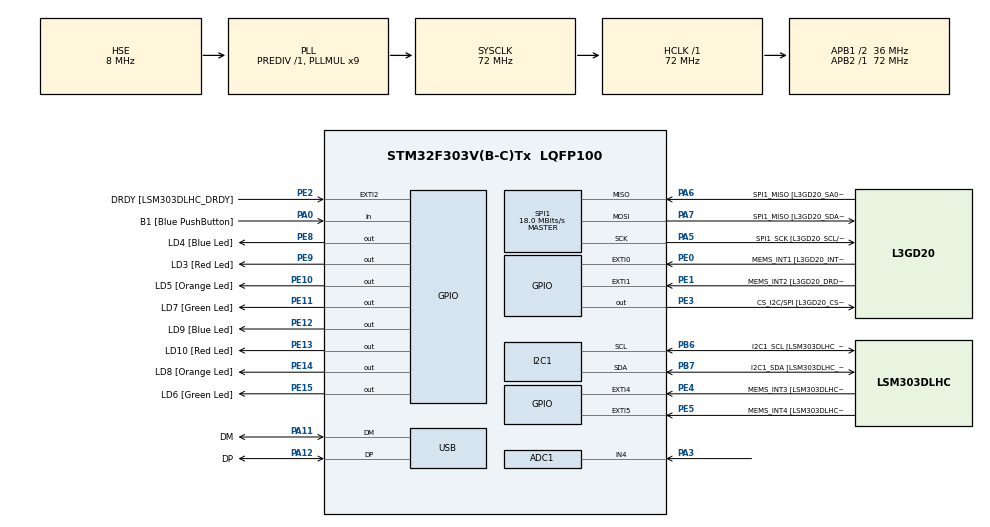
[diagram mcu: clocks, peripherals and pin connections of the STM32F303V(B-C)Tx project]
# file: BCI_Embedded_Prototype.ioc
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ADC1.Channel-0\#ChannelRegularConversion=ADC_CHANNEL_4
ADC1.DMAContinuousRequests=ENABLE
ADC1.ExternalTrigConv=ADC_EXTERNALTRIGCONV_T6_TRGO
ADC1.NbrOfConversionFlag=1
ADC1.Offset-0\#ChannelRegularConversion=0
ADC1.OffsetNumber-0\#ChannelRegularConversion=ADC_OFFSET_NONE
ADC1.Rank-0\#ChannelRegularConversion=1
ADC1.SamplingTime-0\#ChannelRegularConversion=ADC_SAMPLETIME_1CYCLE_5
ADC1.SamplingTimeOPAMP-0\#ChannelRegularConversion=ADC_SAMPLETIME_19CYCLES_5
ADC1.master=1
Dma.ADC1.0.Direction=DMA_PERIPH_TO_MEMORY
Dma.ADC1.0.Instance=DMA1_Channel1
Dma.ADC1.0.MemDataAlignment=DMA_MDATAALIGN_HALFWORD
Dma.ADC1.0.MemInc=DMA_MINC_ENABLE
Dma.ADC1.0.Mode=DMA_CIRCULAR
Dma.ADC1.0.PeriphDataAlignment=DMA_PDATAALIGN_HALFWORD
Dma.ADC1.0.PeriphInc=DMA_PINC_DISABLE
Dma.ADC1.0.Priority=DMA_PRIORITY_HIGH
Dma.Request0=ADC1
I2C1.Timing=0x00201D2B
I2C1.Timing-I2C=0x2000090E
Mcu.Family=STM32F3
Mcu.Name=STM32F303V(B-C)Tx
Mcu.Package=LQFP100
NVIC.DMA1_Channel1_IRQn=true\:0\:0\:false\:false\:true\:false\:true\:true
NVIC.PriorityGroup=NVIC_PRIORITYGROUP_0
NVIC.USB_LP_CAN_RX0_IRQn=true\:0\:0\:false\:false\:true\:false\:true\:true
PA0.GPIO_Label=B1 [Blue PushButton]
PA0.Signal=GPIO_Input
PA11.GPIO_Label=DM
PA11.Mode=Device
PA11.Signal=USB_DM
PA12.GPIO_Label=DP
PA12.Mode=Device
PA12.Signal=USB_DP
PA13.GPIO_Label=SWDIO
PA13.Mode=Serial_Wire
PA13.Signal=SYS_JTMS-SWDIO
PA14.GPIO_Label=SWCLK
PA14.Mode=Serial_Wire
PA14.Signal=SYS_JTCK-SWCLK
PA3.Mode=IN4-Single-Ended
PA3.Signal=ADC1_IN4
PA5.GPIO_Label=SPI1_SCK [L3GD20_SCL/SPC]
PA5.Mode=Full_Duplex_Master
PA5.Signal=SPI1_SCK
PA6.GPIO_Label=SPI1_MISO [L3GD20_SA0/SDO]
PA6.Mode=Full_Duplex_Master
PA6.Signal=SPI1_MISO
PA7.GPIO_Label=SPI1_MISO [L3GD20_SDA/SDI/SDO]
PA7.Mode=Full_Duplex_Master
PA7.Signal=SPI1_MOSI
PB3.GPIO_Label=SWO
PB3.Signal=SYS_JTDO-TRACESWO
PB6.GPIO_Label=I2C1_SCL [LSM303DLHC_SCL]
PB6.GPIO_Pu=GPIO_PULLUP
PB6.Mode=I2C
PB6.Signal=I2C1_SCL
PB7.GPIO_Label=I2C1_SDA [LSM303DLHC_SDA]
PB7.GPIO_Pu=GPIO_PULLUP
PB7.Mode=I2C
PB7.Signal=I2C1_SDA
PC14-OSC32_IN.GPIO_Label=OSC32_IN
PC14-OSC32_IN.Signal=RCC_OSC32_IN
PC15-OSC32_OUT.GPIO_Label=OSC32_OUT
PC15-OSC32_OUT.Signal=RCC_OSC32_OUT
PE0.GPIO_Label=MEMS_INT1 [L3GD20_INT1]
PE0.GPIO_ModeDefaultEXTI=GPIO_MODE_EVT_RISING
PE0.Signal=GPXTI0
PE1.GPIO_Label=MEMS_INT2 [L3GD20_DRDY/INT2]
PE1.GPIO_ModeDefaultEXTI=GPIO_MODE_EVT_RISING
PE1.Signal=GPXTI1
PE10.GPIO_Label=LD5 [Orange Led]
PE10.Signal=GPIO_Output
PE11.GPIO_Label=LD7 [Green Led]
PE11.Signal=GPIO_Output
PE12.GPIO_Label=LD9 [Blue Led]
PE12.Signal=GPIO_Output
PE13.GPIO_Label=LD10 [Red Led]
PE13.Signal=GPIO_Output
PE14.GPIO_Label=LD8 [Orange Led]
PE14.Signal=GPIO_Output
PE15.GPIO_Label=LD6 [Green Led]
PE15.Signal=GPIO_Output
PE2.GPIO_Label=DRDY [LSM303DLHC_DRDY]
PE2.GPIO_ModeDefaultEXTI=GPIO_MODE_EVT_RISING
PE2.Signal=GPXTI2
PE3.GPIO_Label=CS_I2C/SPI [L3GD20_CS_I2C/SPI]
PE3.Signal=GPIO_Output
PE4.GPIO_Label=MEMS_INT3 [LSM303DLHC_INT1]
PE4.GPIO_ModeDefaultEXTI=GPIO_MODE_EVT_RISING
PE4.Signal=GPXTI4
PE5.GPIO_Label=MEMS_INT4 [LSM303DLHC_INT2]
PE5.GPIO_ModeDefaultEXTI=GPIO_MODE_EVT_RISING
PE5.Signal=GPXTI5
PE8.GPIO_Label=LD4 [Blue Led]
PE8.Signal=GPIO_Output
PE9.GPIO_Label=LD3 [Red Led]
PE9.Signal=GPIO_Output
PF0-OSC_IN.GPIO_Label=OSC_IN
PF0-OSC_IN.Mode=HSE-External-Clock-Source
PF0-OSC_IN.Signal=RCC_OSC_IN
PF1-OSC_OUT.GPIO_Label=OSC_OUT
PF1-OSC_OUT.Signal=RCC_OSC_OUT
ProjectManager.HeapSize=0x200
ProjectManager.StackSize=0x400
ProjectManager.TargetToolchain=STM32CubeIDE
RCC.AHBFreq_Value=72000000
RCC.APB1CLKDivider=RCC_HCLK_DIV2
RCC.APB1Freq_Value=36000000
RCC.APB1TimFreq_Value=72000000
RCC.APB2Freq_Value=72000000
RCC.APB2TimFreq_Value=72000000
RCC.CortexFreq_Value=72000000
RCC.HCLKFreq_Value=72000000
RCC.HSE_VALUE=8000000
RCC.HSI_VALUE=8000000
RCC.LSE_VALUE=32768
RCC.PLLMUL=RCC_PLL_MUL9
RCC.PRESCALERUSB=RCC_USBCLKSOURCE_PLL_DIV1_5
RCC.SYSCLKFreq_VALUE=72000000
RCC.SYSCLKSourceVirtual=RCC_SYSCLKSOURCE_PLLCLK
RCC.USBFreq_Value=48000000
SPI1.BaudRatePrescaler=SPI_BAUDRATEPRESCALER_4
SPI1.BaudRatePrescaler-Full_Duplex_Master=SPI_BAUDRATEPRESCALER_2
SPI1.CalculateBaudRate=18.0 MBits/s
SPI1.CalculateBaudRate-Full_Duplex_Master=24.0 MBits/s
SPI1.Direction=SPI_DIRECTION_2LINES
SPI1.Mode=SPI_MODE_MASTER
SPI1.Mode-Full_Duplex_Master=SPI_MODE_MASTER
SPI1.VirtualType=VM_MASTER
TIM6.Period=3999
TIM6.TIM_MasterOutputTrigger=TIM_TRGO_UPDATE
USB_DEVICE.CLASS_NAME_FS=CDC
USB_DEVICE.VirtualMode=Cdc
USB_DEVICE.VirtualModeFS=Cdc_FS
VP_TIM6_VS_ClockSourceINT.Mode=Enable_Timer
VP_USB_DEVICE_VS_USB_DEVICE_CDC_FS.Mode=CDC_FS
board=STM32F3DISCOVERY

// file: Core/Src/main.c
/* USER CODE BEGIN Header */
/**
  ******************************************************************************
  * @file           : main.c
  * @brief          : Main program body
  ******************************************************************************
  * @attention
  *
  * Copyright (c) 2024 STMicroelectronics.
  * All rights reserved.
  *
  * This software is licensed under terms that can be found in the LICENSE file
  * in the root directory of this software component.
  * If no LICENSE file comes with this software, it is provided AS-IS.
  *
  ******************************************************************************
  */
/* USER CODE END Header */
#include "main.h"
#include "adc.h"
#include "dma.h"
#include "i2c.h"
#include "spi.h"
#include "tim.h"
#include "usb_device.h"
#include "gpio.h"

/* USER CODE BEGIN Includes */
#include "usbd_cdc_if.h"
#include "usbd_core.h" // Include for USB device core structures
#include <math.h>
//#include "EMA.h"
/* USER CODE END Includes */

/* USER CODE BEGIN PV */
// # samples per data block(half buffer)
#define DATASIZE 128
// full buffer size
#define BUFFERSIZE DATASIZE * 2
#define PI 3.14159265358979323846
#define FLOAT_SCALE 2147483648
//BUFFERS
uint16_t adc_vals[BUFFERSIZE]; //adc buffer
uint8_t USB_test_1[BUFFERSIZE];
uint8_t USB_test_2[BUFFERSIZE];
uint8_t USB_test_3[BUFFERSIZE];
uint8_t USB_test_4[BUFFERSIZE];
uint8_t USB_test_5[BUFFERSIZE];
uint8_t USB_test_6[BUFFERSIZE];
uint8_t USB_test_7[BUFFERSIZE];
uint8_t USB_test_8[BUFFERSIZE];
uint8_t* test_buffers[] = {
    USB_test_1,
    USB_test_2,
    USB_test_3,
    USB_test_4,
    USB_test_5,
    USB_test_6,
    USB_test_7,
    USB_test_8
};

uint16_t live_read_packet[54];
uint16_t unpacked_1[BUFFERSIZE];
uint16_t unpacked_2[BUFFERSIZE];
uint16_t unpacked_3[BUFFERSIZE];
uint16_t* unpacked_buffers[] = {
		unpacked_1,
		unpacked_2,
		unpacked_3
};

uint32_t start_time, end_time, elapsed_time;

uint32_t dac_vals[BUFFERSIZE]; //dac buffer (may need to be larger for multiple output signals later
uint8_t data_ready;
int result;
int result_2;
float frequency = 1.0;       // 1 Hz sine wave
float amplitude = 1.0;       // Amplitude of 1
float sample_rate = 100.0;   // 100 samples per second
int package_counter = 0;
int num_full_buffers_packed = 0;

uint8_t entered_transfer = 0;
extern USBD_HandleTypeDef hUsbDeviceFS;
#define CHUNK_SIZE 4

//debug signals
uint16_t check;
uint8_t cnt;
int track;
int button_pressed = 0;

// pointers to the half of the buffer being processed
static volatile uint32_t* input_buffer_ptr;
static volatile uint32_t* output_buffer_ptr = &dac_vals[0];
//EMA filter;

/* USER CODE END PV */

void SystemClock_Config(void);
/* USER CODE BEGIN PFP */
void set_buffer_terminator(uint8_t* buffer, uint32_t size) {
    if (size >= 2) {  // Ensure there's enough space for \r\n
        buffer[size - 2] = '\r';  // Set second to last byte to '\r'
        buffer[size - 1] = '\n';   // Set last byte to '\n'
    }
}
void fill_test_buffers(void) {
	for (int i = 0; i < BUFFERSIZE; i++) {
	        adc_vals[i] = 2;
	    }
    for (int i = 0; i < BUFFERSIZE; i++) {
        USB_test_1[i] = "Test_1"[i % 6];
    }
    set_buffer_terminator(USB_test_1, BUFFERSIZE);

    for (int i = 0; i < BUFFERSIZE; i++) {
        USB_test_2[i] = "Test_2"[i % 6];
    }
    set_buffer_terminator(USB_test_2, BUFFERSIZE);

    for (int i = 0; i < BUFFERSIZE; i++) {
        USB_test_3[i] = "Test_3"[i % 6];
    }
    set_buffer_terminator(USB_test_3, BUFFERSIZE);

    for (int i = 0; i < BUFFERSIZE; i++) {
        USB_test_4[i] = "Test_4"[i % 6];
    }
    set_buffer_terminator(USB_test_4, BUFFERSIZE);

    for (int i = 0; i < BUFFERSIZE; i++) {
        USB_test_5[i] = "Test_5"[i % 6];
    }
    set_buffer_terminator(USB_test_5, BUFFERSIZE);

    for (int i = 0; i < BUFFERSIZE; i++) {
        USB_test_6[i] = "Test_6"[i % 6];
    }
    set_buffer_terminator(USB_test_6, BUFFERSIZE);

    for (int i = 0; i < BUFFERSIZE; i++) {
        USB_test_7[i] = "Test_7"[i % 6];
    }
    set_buffer_terminator(USB_test_7, BUFFERSIZE);

    for (int i = 0; i < BUFFERSIZE; i++) {
        USB_test_8[i] = "Test_8"[i % 6];
    }
    set_buffer_terminator(USB_test_8, BUFFERSIZE);
}

/* USER CODE END PFP */

/* USER CODE BEGIN 0 */

uint8_t is_usb_connected(void) {
    if (hUsbDeviceFS.dev_state == USBD_STATE_CONFIGURED) {
        return 1; // USB is connected
    } else {
        return 0; // USB is not connected
    }
}

void data_transfer_USB(uint8_t* data, uint16_t size) {
	entered_transfer = 193;
//    result = CDC_Transmit_FS(USB_test, strlen((char*)USB_test));
	result = CDC_Transmit_FS(data, size);

	    // Print the result of the transmission
	    switch (result) {
	        case USBD_OK:
	            printf("USB transmission successful.\n");
	            break;
	        case USBD_BUSY:
	            printf("USB transmission failed: BUSY.\n");
	            break;
	        case USBD_FAIL:
	            printf("USB transmission failed: ERROR.\n");
	            break;
	        default:
	            printf("USB transmission failed: Unknown status.\n");
	            break;
	    }
}

void transfer_all_buffers(void) {
    // Number of buffers
    uint8_t num_buffers = sizeof(test_buffers) / sizeof(test_buffers[0]);
    for (uint8_t i = 0; i < num_buffers; i++) {
        uint16_t size = strlen((char*)test_buffers[i]);
        data_transfer_USB(test_buffers[i], size);
        HAL_Delay(100);
    }
}

void sendBufferOverUSB(uint32_t* buffer, uint32_t size) {
    // Allocate a byte array to hold the uint32_t data
    uint8_t byteBuffer[size * sizeof(uint32_t)];

    // Convert the uint32_t buffer to uint8_t
    for (uint32_t i = 0; i < size; i++) {
        byteBuffer[i * sizeof(uint32_t)]     = (buffer[i] >> 24) & 0xFF; // MSB
        byteBuffer[i * sizeof(uint32_t) + 1] = (buffer[i] >> 16) & 0xFF;
        byteBuffer[i * sizeof(uint32_t) + 2] = (buffer[i] >> 8) & 0xFF;
        byteBuffer[i * sizeof(uint32_t) + 3] = buffer[i] & 0xFF; // LSB
    }

    // Send the byte array using the CDC interface
    CDC_Transmit_FS(byteBuffer, size * sizeof(uint32_t));
}

void send_raw_adc_data(uint32_t* adc_vals, uint32_t num_samples) {
    // Size of the buffer in bytes
    uint32_t size_to_send = num_samples * sizeof(uint32_t);  // num_samples * 4 bytes

    // Transmit the raw data as bytes
    if (CDC_Transmit_FS((uint8_t*)adc_vals, size_to_send) != USBD_OK) {
        // Handle error if needed
    }
}

void generate_sine_wave(float frequency, float amplitude, float sample_rate, uint32_t buffer[], int buffer_size) {
    for (int i = 0; i < buffer_size; i++) {
        // Time variable as a scaled integer to avoid floating-point math
        int64_t t = (int64_t)(i * UINT32_MAX / sample_rate); // Scale time

        // Compute the sine value as a fixed-point representation
        // sin(2 * PI * frequency * t) is scaled up by a factor of 2^30 for better precision
        int32_t sine_value = (int32_t)(amplitude * sin(2 * PI * frequency * ((double)t / UINT32_MAX)) * (1 << 30));

        // Convert sine value to a uint32_t in the range [0, UINT32_MAX]
        // Note: The range of sine_value is [-amplitude, amplitude], so we scale and offset
        buffer[i] = (uint32_t)((sine_value + (int32_t)amplitude * (1 << 30)) / ((int32_t)(2 * amplitude) * (1 << 30)) * UINT32_MAX);
    }
}

void send_sine_wave_data() {
    for (int i = 0; i < BUFFERSIZE; i += CHUNK_SIZE) {
        // Check to ensure we don't exceed the buffer size
        if (i + CHUNK_SIZE <= BUFFERSIZE) {
            uint8_t* byte_buffer = (uint8_t*)&adc_vals[i]; // Cast to uint8_t pointer
            CDC_Transmit_FS(byte_buffer, CHUNK_SIZE * sizeof(uint32_t)); // Send 16 bytes (4 uint32_t)
        }
    }
}
void HAL_ADC_ConvCpltCallback(ADC_HandleTypeDef* hadc)
{
	input_buffer_ptr = &adc_vals[DATASIZE];
//	output_buffer_ptr = &dac_vals[DATASIZE];

	check = 1;

	data_ready = 1;
//	CDC_Transmit_FS((uint8_t*)&adc_vals, sizeof(adc_vals));
}
void HAL_ADC_ConvHalfCpltCallback(ADC_HandleTypeDef* hadc)
{
	input_buffer_ptr = &adc_vals[0];
//	output_buffer_ptr = &dac_vals[0];

	check = 2;

	data_ready = 1;
//	CDC_Transmit_FS((uint8_t*)input_buffer_ptr, 0.5 * sizeof(adc_vals));
}

void package_point(uint16_t* final_packet_buffer, const uint16_t* unpacked_buffer, uint16_t identifier, int final_packet_pointer, int buffer_pointer, int num_points) {
	uint16_t zero = 0;
	final_packet_buffer[final_packet_pointer * (num_points + 2)] = zero;
	final_packet_buffer[final_packet_pointer * (num_points + 2) + 1] = identifier;
	for (int i = 0; i < num_points; i++) {
		final_packet_buffer[final_packet_pointer * (num_points + 2) + 2 + i] = unpacked_buffer[buffer_pointer + i];
	}
//	final_packet_buffer[final_packet_pointer * 3 + 2] = unpacked_buffer[buffer_pointer];

}

void package_point_per_buffer(uint16_t* final_packet_buffer, uint16_t** unpacked_buffers, int num_unpacked_buffers, int buffer_pointer) {
	for(int i = 0; i < num_unpacked_buffers; i++) {
//		package_point(final_packet_buffer, unpacked_buffers[i], (uint16_t) i + 1, i, buffer_pointer);
//		track++;
	}
}

void package_several_points_per_buffer(uint16_t* final_packet_buffer, uint16_t** unpacked_buffers, int num_unpacked_buffers, int buffer_pointer, int num_points) {
	for(int i = 0; i < num_unpacked_buffers; i++) {
			package_point(final_packet_buffer, unpacked_buffers[i], (uint16_t) i + 1, i, buffer_pointer, num_points);
	//		track++;
		}
}

void fill_unpacked_buffers(uint16_t** unpacked_buffers, int num_unpacked_buffers) {
	for(int i = 0; i < num_unpacked_buffers; i++) {
		for (int j = 0; j < BUFFERSIZE; j++) {
//			unpacked_buffers[i][j] = j * 10 + i;
			unpacked_buffers[i][j] = i * 1000 + 500;
		}
	}
}

void wait_for_button_press(GPIO_TypeDef *GPIOx, uint16_t GPIO_Pin) {
    // Wait until the button is pressed (assuming active-low button, meaning pressed is 0)
	while (HAL_GPIO_ReadPin(GPIOx, GPIO_Pin) == GPIO_PIN_RESET) {
	        // Optionally add a small delay to avoid busy waiting
	        HAL_Delay(50);
	    }
	    // Optionally, wait for the button to be released
	    while (HAL_GPIO_ReadPin(GPIOx, GPIO_Pin) == GPIO_PIN_SET) {
	        HAL_Delay(50);
	    }
	HAL_GPIO_TogglePin(GPIOE, GPIO_PIN_11); // Toggle the green LED
    button_pressed = 1;
}

int aux_retrigger_usb();

/* USER CODE END 0 */

int main(void)
{

  /* MCU Configuration--------------------------------------------------------*/

  /* Reset of all peripherals, Initializes the Flash interface and the Systick. */
  HAL_Init();

  /* Configure the system clock */
  SystemClock_Config();

  /* Initialize all configured peripherals */
  MX_GPIO_Init();
  MX_DMA_Init();
  MX_I2C1_Init();
  MX_SPI1_Init();
  MX_ADC1_Init();
  MX_TIM6_Init();
//  MX_USB_DEVICE_Init();
  /* USER CODE BEGIN 2 */
  // START TIME BASE AND DMA CHANNELS
  HAL_TIM_Base_Start(&htim6);
  HAL_ADC_Start_DMA(&hadc1, (uint16_t *) adc_vals, BUFFERSIZE);
  fill_test_buffers();
  HAL_Delay(2000);

//  wait_for_button_press(GPIOA, GPIO_PIN_0);

//  MX_USB_DEVICE_Init();

  /* USER CODE END 2 */

  /* Infinite loop */
  /* USER CODE BEGIN WHILE */

//  	while (!is_usb_connected()) {
//  		  HAL_Delay(100);
//  	  }
//    fill_unpacked_buffers(unpacked_buffers, 3);
//  	package_point_per_buffer(live_read_packet, unpacked_buffers, 3, 0);
//  	package_several_points_per_buffer(live_read_packet, unpacked_buffers, 3, package_counter, 16);

//    for(int i = 0; i < BUFFERSIZE; i++) {
//        	adc_vals[i] = 8;
//        }
//    wait_for_button_press(GPIOA, GPIO_PIN_0);
    aux_retrigger_usb();
//    MX_USB_DEVICE_Init();

  	start_time = HAL_GetTick();
  	HAL_Delay(1);
//  	result = CDC_Transmit_FS((uint8_t*)&live_read_packet, sizeof(live_read_packet));
//  	result_2 = CDC_Transmit_FS((uint8_t*)&adc_vals, sizeof(adc_vals));
//  	transfer_all_buffers();
  	end_time = HAL_GetTick();
  	elapsed_time = end_time - start_time;
  	printf("Elapsed time: %u\n", elapsed_time);
//  	generate_sine_wave(frequency, amplitude, sample_rate, adc_vals, BUFFERSIZE);

  while (1)
  {
	  if(package_counter >= BUFFERSIZE) {
	  		  package_counter = 0;
	  		  num_full_buffers_packed++;
	  }
//	  	for(int i = 0; i < 16; i++) {
//	  		package_point_per_buffer(live_read_packet, unpacked_buffers, 3, package_counter);
//	  		package_counter++;
//	  	}
	  	package_several_points_per_buffer(live_read_packet, unpacked_buffers, 3, package_counter, 16);
	  	package_counter += 16;
	  	result = CDC_Transmit_FS((uint8_t*)&live_read_packet, sizeof(live_read_packet));
	  	HAL_Delay(5);
//	  	package_counter++;

//	  transfer_all_buffers();
//	while (!is_usb_connected()) {
//	      HAL_Delay(100);
//	}
//
//	transfer_all_buffers();
//	  uint8_t four_byte_string[4] = "ABCD";  // 4-byte string
//	  CDC_Transmit_FS((uint8_t*)four_byte_string, 4);  // Sending 4 bytes over USB
//	  uint32_t number = 42;  // Example integer
//	  uint8_t data[4];
//
//	  // Break the 32-bit integer into 4 bytes
//	  data[0] = (number >> 24) & 0xFF;
//	  data[1] = (number >> 16) & 0xFF;
//	  data[2] = (number >> 8) & 0xFF;
//	  data[3] = number & 0xFF;
//
//	  CDC_Transmit_FS(data, 4);  // Send the 4 bytes representing the integer
	  uint32_t value = 1234;  // Example uint32_t value
//	  CDC_Transmit_FS((uint8_t*)&adc_vals, sizeof(adc_vals));
//	  send_sine_wave_data();
//	  result = CDC_Transmit_FS((uint8_t*)&live_read_packet, sizeof(live_read_packet));

	  HAL_Delay(2);
//	sendBufferOverUSB(adc_vals, BUFFERSIZE); // Send the buffer over USB
//	send_raw_adc_data(adc_vals, BUFFERSIZE);

//	HAL_Delay(1000);
  }
    /* USER CODE END WHILE */

}

void SystemClock_Config(void)
{
  RCC_OscInitTypeDef RCC_OscInitStruct = {0};
  RCC_ClkInitTypeDef RCC_ClkInitStruct = {0};
  RCC_PeriphCLKInitTypeDef PeriphClkInit = {0};

  /** Initializes the RCC Oscillators according to the specified parameters
  * in the RCC_OscInitTypeDef structure.
  */
  RCC_OscInitStruct.OscillatorType = RCC_OSCILLATORTYPE_HSI|RCC_OSCILLATORTYPE_HSE;
  RCC_OscInitStruct.HSEState = RCC_HSE_BYPASS;
  RCC_OscInitStruct.HSEPredivValue = RCC_HSE_PREDIV_DIV1;
  RCC_OscInitStruct.HSIState = RCC_HSI_ON;
  RCC_OscInitStruct.HSICalibrationValue = RCC_HSICALIBRATION_DEFAULT;
  RCC_OscInitStruct.PLL.PLLState = RCC_PLL_ON;
  RCC_OscInitStruct.PLL.PLLSource = RCC_PLLSOURCE_HSE;
  RCC_OscInitStruct.PLL.PLLMUL = RCC_PLL_MUL9;
  if (HAL_RCC_OscConfig(&RCC_OscInitStruct) != HAL_OK)
  {
    Error_Handler();
  }

  /** Initializes the CPU, AHB and APB buses clocks
  */
  RCC_ClkInitStruct.ClockType = RCC_CLOCKTYPE_HCLK|RCC_CLOCKTYPE_SYSCLK
                              |RCC_CLOCKTYPE_PCLK1|RCC_CLOCKTYPE_PCLK2;
  RCC_ClkInitStruct.SYSCLKSource = RCC_SYSCLKSOURCE_PLLCLK;
  RCC_ClkInitStruct.AHBCLKDivider = RCC_SYSCLK_DIV1;
  RCC_ClkInitStruct.APB1CLKDivider = RCC_HCLK_DIV2;
  RCC_ClkInitStruct.APB2CLKDivider = RCC_HCLK_DIV1;

  if (HAL_RCC_ClockConfig(&RCC_ClkInitStruct, FLASH_LATENCY_2) != HAL_OK)
  {
    Error_Handler();
  }
  PeriphClkInit.PeriphClockSelection = RCC_PERIPHCLK_USB|RCC_PERIPHCLK_I2C1
                              |RCC_PERIPHCLK_ADC12;
  PeriphClkInit.Adc12ClockSelection = RCC_ADC12PLLCLK_DIV1;
  PeriphClkInit.I2c1ClockSelection = RCC_I2C1CLKSOURCE_HSI;
  PeriphClkInit.USBClockSelection = RCC_USBCLKSOURCE_PLL_DIV1_5;
  if (HAL_RCCEx_PeriphCLKConfig(&PeriphClkInit) != HAL_OK)
  {
    Error_Handler();
  }
}

/* USER CODE BEGIN 4 */

int aux_retrigger_usb()
{
    GPIO_InitTypeDef GPIO_InitStructure;

    // Configure PA12 (USB_DP) as output push-pull to simulate disconnect
    GPIO_InitStructure.Pin = GPIO_PIN_12;
    GPIO_InitStructure.Mode = GPIO_MODE_OUTPUT_PP;
    GPIO_InitStructure.Pull = GPIO_NOPULL;
    GPIO_InitStructure.Speed = GPIO_SPEED_FREQ_HIGH;
    HAL_GPIO_Init(GPIOA, &GPIO_InitStructure);

    // Drive PA12 low to simulate disconnect
    HAL_GPIO_WritePin(GPIOA, GPIO_PIN_12, GPIO_PIN_RESET);

    // Delay to ensure the host detects the disconnect
    HAL_Delay(100);

    // Reconfigure PA12 as USB DP (Alternate Function)
    GPIO_InitStructure.Mode = GPIO_MODE_AF_PP;
    HAL_GPIO_Init(GPIOA, &GPIO_InitStructure);

    // Initialize USB Device
    MX_USB_DEVICE_Init();

    // Start the USB device
    USBD_Start(&hUsbDeviceFS);

    return 1;
}
//int     aux_retrigger_usb()
//{
//        GPIO_InitTypeDef  GPIO_InitStructure;
//
//        // ST USB Function
////        PowerOff();
////        USBD_Stop(&hUsbDeviceFS);
//        GPIO_InitStructure.Pin = GPIO_PIN_12 | GPIO_PIN_11;
//        GPIO_InitStructure.Speed = GPIO_SPEED_FREQ_HIGH;
//        GPIO_InitStructure.Mode = GPIO_MODE_OUTPUT_PP;
////        GPIO_InitStructure.Mode = GPIO_MODE_OUTPUT_PP;
//
//        GPIO_InitStructure.Pull = GPIO_NOPULL;
////        GPIO_InitStructure.Pull = GPIO_NOPULL;
//
//
////        GPIO_Init(GPIOA, &GPIO_InitStructure);
//        HAL_GPIO_Init(GPIOA, &GPIO_InitStructure);
//        // Set USB_DP to 0
//
////        GPIOA->BRR  |= GPIO_PIN_12 ;
////
////        // Wait for for minimum 32* 50msec ,  1,6 secs
////        while(tim3_cnt%32!=0) ; while(tim3_cnt%32!=31) ;
//        HAL_Delay(2000);
//
//        // ST USB Functions
////        PowerOn();
////        USB_Init();
////        Virtual_Com_Port_Reset() ;
////        MX_USB_DEVICE_Init();
//
////        USBD_Start(&hUsbDeviceFS);
////        USBD_DeInit(&hUsbDeviceFS);
////        USBD_Start(&hUsbDeviceFS);
//
//        MX_USB_DEVICE_Init();
//        HAL_Delay(1000);
////        USBD_Start(&hUsbDeviceFS);
//
//
//
//
//        // Program Pin 12 USB_DP from Output to input
//        memset(&GPIO_InitStructure, 0, sizeof(GPIO_InitStructure));
//
//
//        GPIO_InitStructure.Pin = GPIO_PIN_12 | GPIO_PIN_11;
////        GPIO_InitStructure.Pin = GPIO_PIN_11;
//
//        GPIO_InitStructure.Speed = GPIO_SPEED_FREQ_HIGH;
//        GPIO_InitStructure.Mode = GPIO_MODE_AF_PP; // Alternate function push-pull mode
//        GPIO_InitStructure.Pull = GPIO_NOPULL;
//
//        HAL_GPIO_Init(GPIOA, &GPIO_InitStructure);
//
////        USBD_Start(&hUsbDeviceFS);
////        MX_USB_DEVICE_Init();
////        HAL_Delay(1000);
//
//
//        return 1 ;
//}

/* USER CODE END 4 */

void Error_Handler(void)
{
  __disable_irq();
  while (1)
  {
  }
}
